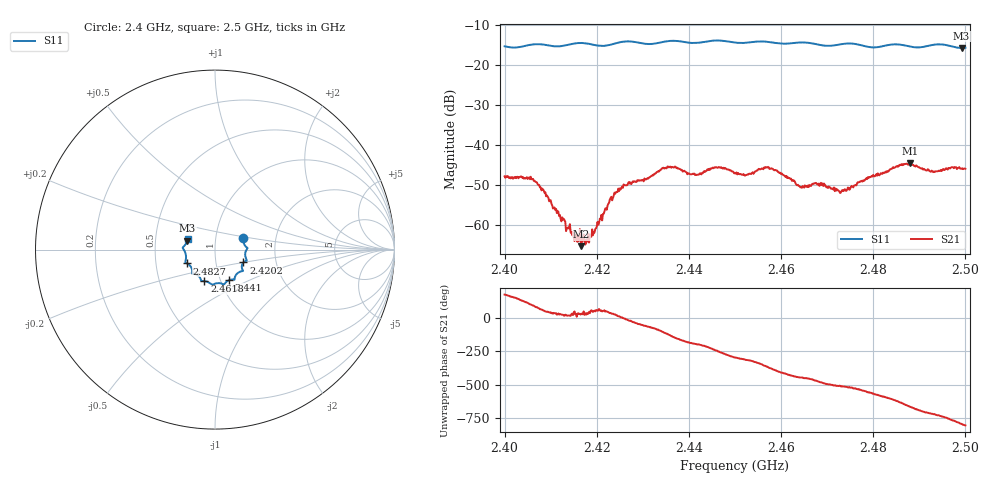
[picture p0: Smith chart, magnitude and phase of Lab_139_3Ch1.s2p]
# Hz S RI R 50
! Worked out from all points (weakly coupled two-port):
!   601 points, 2.4 GHz to 2.5 GHz, reference 50 ohm
!   highest |S21| = -44.66 dB at 2.488 GHz (marker M1); lowest = -65.4 dB at 2.4167 GHz (marker M2)
!   lowest |S11| = -15.8 dB at 2.4992 GHz (marker M3), VSWR 1.39, Z = 36.4 + j3.66 ohm
!   |S11| at or under -10 dB: start of sweep to end of sweep
!   S12 and S22 are empty: the file has one direction only
!   S11 on the Smith chart (normalised r, x): 2.4 GHz: 1.36, +0.18; 2.4202 GHz: 1.36, -0.20; 2.441 GHz: 1.10, -0.39; 2.4618 GHz: 0.84, -0.30; 2.4827 GHz: 0.72, -0.11; 2.5 GHz: 0.73, +0.09
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2.4e9  0.1584 0.0628  -0.004 0.000323  0 0  0 0
2.4065e9  0.1804 0.00977  0.000176 0.00353  0 0  0 0
2.414833e9  0.1748 -0.055  0.000748 0.0003  0 0  0 0
2.416667e9  0.1773 -0.0608  0.000453 0.000289  0 0  0 0
2.417833e9  0.174 -0.0626  0.000527 0.000388  0 0  0 0
2.420167e9  0.1585 -0.0713  0.000626 0.000879  0 0  0 0
2.424333e9  0.1523 -0.1091  0.0024 0.000902  0 0  0 0
2.433333e9  0.1115 -0.1507  0.000233 -0.00464  0 0  0 0
2.436833e9  0.108 -0.1676  -0.00432 -0.00292  0 0  0 0
2.441e9  0.0787 -0.1697  -0.00422 0.000914  0 0  0 0
2.446e9  0.0498 -0.1952  -0.00222 0.00471  0 0  0 0
2.45e9  0.0286 -0.1874  0.00193 0.00399  0 0  0 0
2.456833e9  -0.0191 -0.1933  0.00518 -0.000395  0 0  0 0
2.461833e9  -0.0592 -0.1754  0.00155 -0.00351  0 0  0 0
2.466667e9  -0.0786 -0.1681  -0.000501 -0.00314  0 0  0 0
2.473167e9  -0.1214 -0.1347  -0.00235 -0.00127  0 0  0 0
2.482667e9  -0.1559 -0.0771  -0.00278 0.00367  0 0  0 0
2.483333e9  -0.1602 -0.0751  -0.00229 0.00405  0 0  0 0
2.488e9  -0.1616 -0.0497  0.00344 0.00473  0 0  0 0
2.492833e9  -0.177 0.00401  0.00466 0.000168  0 0  0 0
2.499167e9  -0.1548 0.0489  0.0014 -0.0048  0 0  0 0
2.5e9  -0.1521 0.0607  0.000412 -0.00498  0 0  0 0
